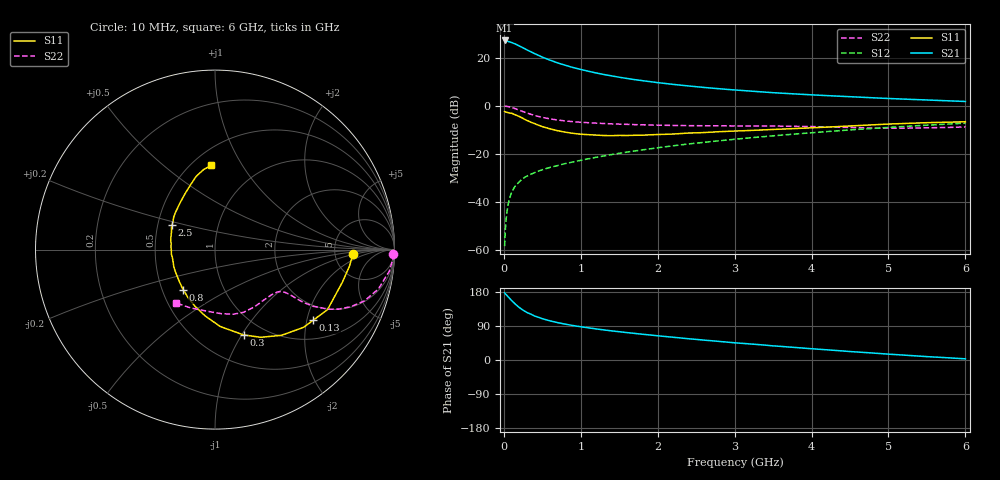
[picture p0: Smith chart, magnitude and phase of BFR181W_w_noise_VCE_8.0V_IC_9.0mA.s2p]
! Infineon Technologies  Discrete & RF Semiconductors
! BFR181W
! VCE =  8.0 V,  IC =  9.0 mA
! Common Emitter S-Parameters:  Jan 2017
# GHz  S  MA  R  50
!  f  S11  S21  S12  S22
! GHz  MAG  ANG  MAG  ANG  MAG  ANG  MAG  ANG
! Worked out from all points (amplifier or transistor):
!   77 points, 10 MHz to 6 GHz, reference 50 ohm
!   highest |S21| = 27.3 dB at 10 MHz (marker M1)
!   |S21| within 3 dB of that: start of sweep to 245.6 MHz
!   unconditionally stable (mu >= 1): 1.13 GHz to 2.969 GHz
!   at 130 MHz: K = 0.25, MSG = 30.2 dB, |S12| = -34.3 dB
!   at 2.2 GHz: K = 1.05, MAG = 11.5 dB, |S12| = -16.6 dB
!   at 6 GHz: K = 0.85, MSG = 4.5 dB, |S12| = -7.1 dB
!   lowest NFmin = 1.18 dB at 450 MHz
!   S11 on the Smith chart (normalised r, x): 10 MHz: 7.55, -0.89; 130 MHz: 1.51, -2.18; 300 MHz: 0.80, -1.02; 800 MHz: 0.64, -0.31; 2.5 GHz: 0.59, +0.18; 6 GHz: 0.62, +0.74
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0.01  0.7689 -1.8  23.29 177.5  0.0012 84.5  0.9943 -1.4
0.02  0.7549 -7.0  22.88 174.5  0.0027 94.6  0.9944 -2.7
0.05  0.7327 -14.3  22.39 168.1  0.0079 81.9  0.9783 -7.1
0.1  0.7105 -28.1  21.16 157.0  0.0158 77.4  0.9359 -13.6
0.13  0.6737 -35.8  20.19 151.4  0.0193 73.1  0.9019 -16.7
0.15  0.6564 -41.3  19.66 147.3  0.0217 71.0  0.8808 -18.9
0.2  0.6049 -52.1  17.93 138.6  0.0263 68.8  0.8207 -22.8
0.25  0.5515 -62.4  16.35 131.4  0.0311 65.4  0.7648 -25.7
0.3  0.5012 -71.5  14.8 125.4  0.0347 63.0  0.7146 -27.7
0.4  0.4299 -86.0  12.38 116.0  0.041 61.6  0.6359 -29.9
0.5  0.3729 -98.6  10.47 109.0  0.047 60.5  0.5797 -30.8
0.6  0.3351 -109.3  9.051 103.3  0.0526 61.2  0.5401 -31.0
0.7  0.306 -119.5  7.932 98.6  0.0576 62.4  0.511 -31.0
0.8  0.2852 -128.3  7.07 94.5  0.0633 63.0  0.4888 -31.1
1.1  0.2531 -150.7  5.306 84.9  0.0797 65.0  0.4492 -31.7
1.5  0.2444 -174.0  3.987 74.6  0.1035 66.2  0.4194 -34.4
2.1  0.2575 161.6  2.951 62.0  0.1416 65.7  0.3968 -42.0
2.5  0.2765 149.7  2.532 54.4  0.1685 64.6  0.3893 -48.5
3.1  0.3051 135.2  2.108 43.9  0.2101 61.9  0.3847 -58.8
4.1  0.3578 117.0  1.681 28.3  0.2854 55.7  0.3699 -76.2
5.1  0.4268 103.1  1.416 14.2  0.3663 47.5  0.3452 -101.2
6  0.4702 92.6  1.245 3.1  0.4396 39.0  0.3673 -125.8
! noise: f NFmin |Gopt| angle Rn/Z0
0.45  1.18  0.17  16  0.21
0.9  1.23  0.16  31  0.21
1.9  1.65  0.05  107  0.2
2.4  1.82  0.03  116  0.23
